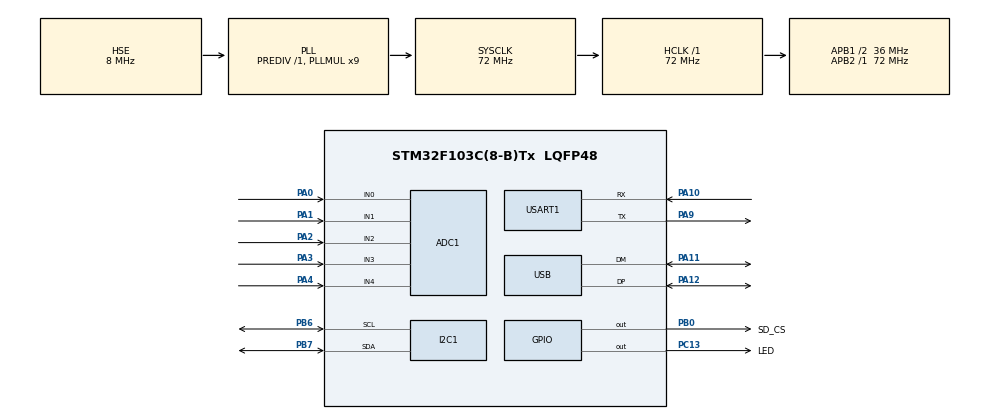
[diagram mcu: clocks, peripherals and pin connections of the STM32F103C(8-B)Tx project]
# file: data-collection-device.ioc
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ADC1.Channel-0\#ChannelRegularConversion=ADC_CHANNEL_0
ADC1.NbrOfConversionFlag=1
ADC1.Rank-0\#ChannelRegularConversion=1
ADC1.SamplingTime-0\#ChannelRegularConversion=ADC_SAMPLETIME_1CYCLE_5
ADC1.master=1
FATFS._MAX_SS=1024
FATFS._MIN_SS=1024
Mcu.Family=STM32F1
Mcu.Name=STM32F103C(8-B)Tx
Mcu.Package=LQFP48
NVIC.PriorityGroup=NVIC_PRIORITYGROUP_4
NVIC.USB_LP_CAN1_RX0_IRQn=true\:0\:0\:false\:false\:true\:false\:true\:true
PA0-WKUP.Signal=ADCx_IN0
PA1.Signal=ADCx_IN1
PA10.Mode=Asynchronous
PA10.Signal=USART1_RX
PA11.Mode=Device
PA11.Signal=USB_DM
PA12.Mode=Device
PA12.Signal=USB_DP
PA13.Mode=Serial_Wire
PA13.Signal=SYS_JTMS-SWDIO
PA14.Mode=Serial_Wire
PA14.Signal=SYS_JTCK-SWCLK
PA2.Signal=ADCx_IN2
PA3.Signal=ADCx_IN3
PA4.Signal=ADCx_IN4
PA9.Mode=Asynchronous
PA9.Signal=USART1_TX
PB0.GPIO_Label=SD_CS
PB0.GPIO_Speed=GPIO_SPEED_FREQ_HIGH
PB0.PinState=GPIO_PIN_SET
PB0.Signal=GPIO_Output
PB6.Mode=I2C
PB6.Signal=I2C1_SCL
PB7.Mode=I2C
PB7.Signal=I2C1_SDA
PC13-TAMPER-RTC.GPIO_Label=LED
PC13-TAMPER-RTC.Signal=GPIO_Output
PC14-OSC32_IN.Mode=LSE-External-Oscillator
PC14-OSC32_IN.Signal=RCC_OSC32_IN
PC15-OSC32_OUT.Mode=LSE-External-Oscillator
PC15-OSC32_OUT.Signal=RCC_OSC32_OUT
PD0-OSC_IN.Mode=HSE-External-Oscillator
PD0-OSC_IN.Signal=RCC_OSC_IN
PD1-OSC_OUT.Mode=HSE-External-Oscillator
PD1-OSC_OUT.Signal=RCC_OSC_OUT
ProjectManager.HeapSize=0x1000
ProjectManager.StackSize=0x1000
ProjectManager.TargetToolchain=MDK-ARM V5.32
RCC.ADCPresc=RCC_ADCPCLK2_DIV6
RCC.AHBFreq_Value=72000000
RCC.APB1CLKDivider=RCC_HCLK_DIV2
RCC.APB1Freq_Value=36000000
RCC.APB1TimFreq_Value=72000000
RCC.APB2Freq_Value=72000000
RCC.APB2TimFreq_Value=72000000
RCC.HCLKFreq_Value=72000000
RCC.PLLMUL=RCC_PLL_MUL9
RCC.SYSCLKFreq_VALUE=72000000
RCC.SYSCLKSource=RCC_SYSCLKSOURCE_PLLCLK
RCC.USBFreq_Value=48000000
RCC.USBPrescaler=RCC_USBCLKSOURCE_PLL_DIV1_5
SH.ADCx_IN0.0=ADC1_IN0,IN0
SH.ADCx_IN1.0=ADC1_IN1,IN1
SH.ADCx_IN2.0=ADC1_IN2,IN2
SH.ADCx_IN3.0=ADC1_IN3,IN3
SH.ADCx_IN4.0=ADC1_IN4,IN4
USART1.VirtualMode=VM_ASYNC
USB_DEVICE.CLASS_NAME_FS=MSC
USB_DEVICE.MSC_MEDIA_PACKET=1024
USB_DEVICE.USBD_MAX_STR_DESC_SIZ=1024
USB_DEVICE.VirtualMode=Msc
USB_DEVICE.VirtualModeFS=Msc_FS
VP_FATFS_VS_Generic.Mode=User_defined
VP_USB_DEVICE_VS_USB_DEVICE_MSC_FS.Mode=MSC_FS
board=custom

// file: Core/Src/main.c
/* USER CODE BEGIN Header */
/**
  ******************************************************************************
  * @file           : main.c
  * @brief          : Main program body
  ******************************************************************************
  * @attention
  *
  * Copyright (c) 2023 STMicroelectronics.
  * All rights reserved.
  *
  * This software is licensed under terms that can be found in the LICENSE file
  * in the root directory of this software component.
  * If no LICENSE file comes with this software, it is provided AS-IS.
  *
  ******************************************************************************
  */
/* USER CODE END Header */
#include "main.h"
#include "adc.h"
#include "fatfs.h"
#include "i2c.h"
#include "usart.h"
#include "usb_device.h"
#include "gpio.h"

/* USER CODE BEGIN Includes */
#include "run.h"
#include "callback.h"

/* USER CODE END Includes */

void SystemClock_Config(void);

int main(void)
{

  /* MCU Configuration--------------------------------------------------------*/

  /* Reset of all peripherals, Initializes the Flash interface and the Systick. */
  HAL_Init();

  /* Configure the system clock */
  SystemClock_Config();

  /* Initialize all configured peripherals */
  MX_GPIO_Init();
  MX_ADC1_Init();
  MX_I2C1_Init();
  MX_USART1_UART_Init();
  MX_FATFS_Init();
  MX_USB_DEVICE_Init();
  /* USER CODE BEGIN 2 */
   	RCC->APB2ENR|=1<<2;    //使能PORTA口时钟
	GPIOA->CRL&=0XFFFFFF0F;//PA1 anolog输入
	RCC->APB2ENR|=1<<9;    //ADC1时钟使能
	RCC->APB2RSTR|=1<<9;   //ADC1复位
	RCC->APB2RSTR&=~(1<<9);//复位结束
	RCC->CFGR&=~(3<<14);   //分频因子清零
	//SYSCLK/DIV2=12M ADC时钟设置为12M,ADC最大时钟不能超过14M!
	//否则将导致ADC准确度下降!
	RCC->CFGR|=2<<14;
	ADC1->CR1&=0XF0FFFF;   //工作模式清零
	ADC1->CR1|=0<<16;      //独立工作模式
	ADC1->CR1&=~(1<<8);    //非扫描模式
	ADC1->CR2&=~(1<<1);    //单次转换模式
	ADC1->CR2&=~(7<<17);
	ADC1->CR2|=7<<17;	   //软件控制转换
	ADC1->CR2|=1<<20;      //使用用外部触发(SWSTART)!!!	必须使用一个事件来触发
	ADC1->CR2&=~(1<<11);   //右对齐
	ADC1->SQR1&=~(0XF<<20);
	ADC1->SQR1|=0<<20;     //1个转换在规则序列中 也就是只转换规则序列1
	//设置通道1的采样时间
	ADC1->SMPR2&=~(3*1);   //通道1采样时间清空
 	ADC1->SMPR2|=7<<(3*1); //通道1  239.5周期,提高采样时间可以提高精确度
	ADC1->CR2|=1<<0;	   //开启AD转换器
	ADC1->CR2|=1<<3;       //使能复位校准
	while(ADC1->CR2&1<<3); //等待校准结束
    //该位由软件设置并由硬件清除。在校准寄存器被初始化后该位将被清除。
	ADC1->CR2|=1<<2;        //开启AD校准
	while(ADC1->CR2&1<<2);  //等待校准结束
  HAL_ADC_Start(&hadc1);
	setup();
  /* USER CODE END 2 */

  /* Infinite loop */
  while (1)
  {

    /* USER CODE BEGIN 3 */
	  loop();
  }
  /* USER CODE END 3 */
}

void SystemClock_Config(void)
{
  RCC_OscInitTypeDef RCC_OscInitStruct = {0};
  RCC_ClkInitTypeDef RCC_ClkInitStruct = {0};
  RCC_PeriphCLKInitTypeDef PeriphClkInit = {0};

  /** Initializes the RCC Oscillators according to the specified parameters
  * in the RCC_OscInitTypeDef structure.
  */
  RCC_OscInitStruct.OscillatorType = RCC_OSCILLATORTYPE_HSE;
  RCC_OscInitStruct.HSEState = RCC_HSE_ON;
  RCC_OscInitStruct.HSEPredivValue = RCC_HSE_PREDIV_DIV1;
  RCC_OscInitStruct.HSIState = RCC_HSI_ON;
  RCC_OscInitStruct.PLL.PLLState = RCC_PLL_ON;
  RCC_OscInitStruct.PLL.PLLSource = RCC_PLLSOURCE_HSE;
  RCC_OscInitStruct.PLL.PLLMUL = RCC_PLL_MUL9;
  if (HAL_RCC_OscConfig(&RCC_OscInitStruct) != HAL_OK)
  {
    Error_Handler();
  }

  /** Initializes the CPU, AHB and APB buses clocks
  */
  RCC_ClkInitStruct.ClockType = RCC_CLOCKTYPE_HCLK|RCC_CLOCKTYPE_SYSCLK
                              |RCC_CLOCKTYPE_PCLK1|RCC_CLOCKTYPE_PCLK2;
  RCC_ClkInitStruct.SYSCLKSource = RCC_SYSCLKSOURCE_PLLCLK;
  RCC_ClkInitStruct.AHBCLKDivider = RCC_SYSCLK_DIV1;
  RCC_ClkInitStruct.APB1CLKDivider = RCC_HCLK_DIV2;
  RCC_ClkInitStruct.APB2CLKDivider = RCC_HCLK_DIV1;

  if (HAL_RCC_ClockConfig(&RCC_ClkInitStruct, FLASH_LATENCY_2) != HAL_OK)
  {
    Error_Handler();
  }
  PeriphClkInit.PeriphClockSelection = RCC_PERIPHCLK_ADC|RCC_PERIPHCLK_USB;
  PeriphClkInit.AdcClockSelection = RCC_ADCPCLK2_DIV6;
  PeriphClkInit.UsbClockSelection = RCC_USBCLKSOURCE_PLL_DIV1_5;
  if (HAL_RCCEx_PeriphCLKConfig(&PeriphClkInit) != HAL_OK)
  {
    Error_Handler();
  }
}

void Error_Handler(void)
{
  __disable_irq();
  while (1)
  {
  }
}
